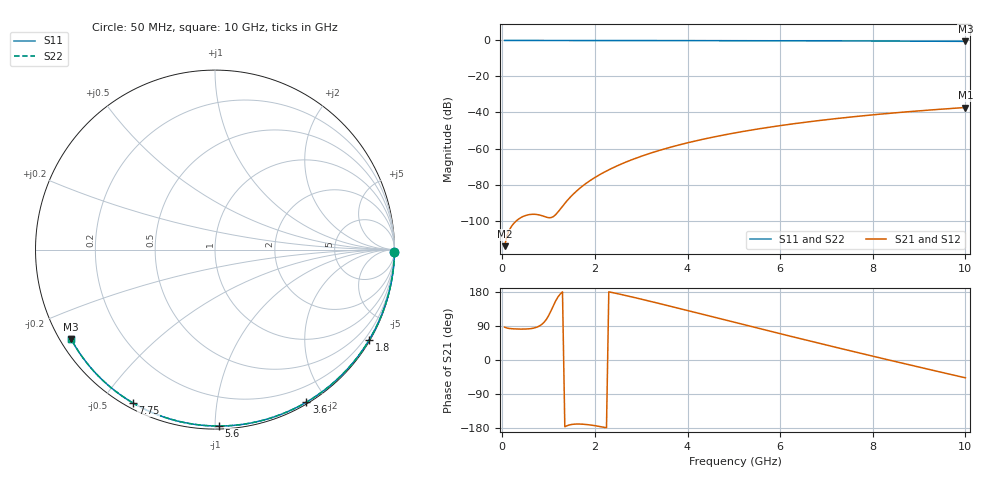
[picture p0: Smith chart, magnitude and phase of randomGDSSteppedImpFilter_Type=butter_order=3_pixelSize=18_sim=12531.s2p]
! freq	dB(S11)	phase(S11)	dB(S12)	phase(S12)
!  dB(S21)	phase(S21)	dB(S22)	phase(S22)
!S-par simulation data
#  GHz  S  DB  R 50
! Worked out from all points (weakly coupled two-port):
!   200 points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, 50 MHz to 10 GHz, reference 50 ohm
!   highest |S21| = -37.24 dB at 10 GHz (marker M1); lowest = -114.2 dB at 50 MHz (marker M2)
!   lowest |S11| = -0.5 dB at 10 GHz (marker M3), VSWR 34.78, Z = 1.55 - j14.2 ohm
!   |S11| at or under -10 dB: nowhere
!   |S22| runs from -0.5 to 0.0 dB; largest |S21 - S12| = 0
!   S11 on the Smith chart (normalised r, x): 50 MHz: open; 1.8 GHz: 0.03, -3.70; 3.6 GHz: 0.02, -1.76; 5.6 GHz: 0.02, -1.02; 7.75 GHz: 0.02, -0.60; 10 GHz: 0.03, -0.28
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0.05  -0.00 -0.9  -114.23 86.7  -114.23 86.7  -0.00 -0.9
0.45  -0.01 -7.7  -97.73 81.6  -97.73 81.6  -0.01 -7.7
0.9  -0.02 -15.3  -97.68 99.3  -97.68 99.3  -0.02 -15.3
1.75  -0.04 -29.5  -80.49 -169.5  -80.49 -169.5  -0.04 -29.5
1.8  -0.04 -30.3  -79.53 -170.1  -79.53 -170.1  -0.04 -30.3
1.95  -0.04 -32.7  -76.90 -172.4  -76.90 -172.4  -0.04 -32.7
2.1  -0.04 -35.2  -74.58 -175.4  -74.58 -175.4  -0.04 -35.2
2.3  -0.05 -38.5  -71.82 179.9  -71.82 179.9  -0.05 -38.5
2.5  -0.05 -41.7  -69.39 174.7  -69.39 174.7  -0.05 -41.7
2.9  -0.06 -48.1  -65.24 163.5  -65.24 163.5  -0.06 -48.1
3.4  -0.07 -56.0  -60.99 148.8  -60.99 148.8  -0.07 -56.0
3.6  -0.08 -59.1  -59.51 142.7  -59.51 142.7  -0.08 -59.1
4.3  -0.10 -69.7  -55.05 121.4  -55.05 121.4  -0.10 -69.7
5.05  -0.12 -80.8  -51.21 98.4  -51.21 98.4  -0.12 -80.8
5.6  -0.15 -88.8  -48.83 81.6  -48.83 81.6  -0.15 -88.8
6.15  -0.17 -96.5  -46.75 64.9  -46.75 64.9  -0.17 -96.5
6.7  -0.20 -104.1  -44.91 48.4  -44.91 48.4  -0.20 -104.1
7.2  -0.23 -110.9  -43.41 33.5  -43.41 33.5  -0.23 -110.9
7.75  -0.27 -118.3  -41.93 17.4  -41.93 17.4  -0.27 -118.3
8.35  -0.32 -126.3  -40.48 -0.1  -40.48 -0.1  -0.32 -126.3
9.2  -0.41 -137.5  -38.69 -24.4  -38.69 -24.4  -0.41 -137.5
10  -0.50 -148.2  -37.24 -47.0  -37.24 -47.0  -0.50 -148.2
